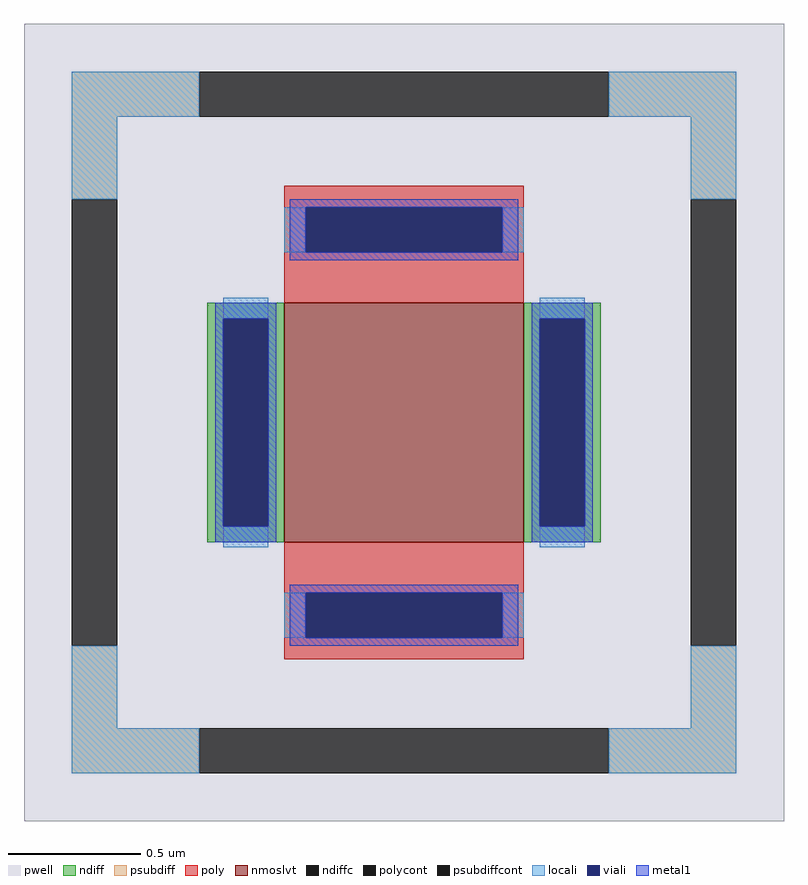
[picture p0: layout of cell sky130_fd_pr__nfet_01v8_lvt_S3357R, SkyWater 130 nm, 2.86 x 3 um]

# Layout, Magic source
magic
tech sky130A
<< pwell >>
rect -143 -150 143 150
<< nmoslvt >>
rect -45 -45 45 45
<< ndiff >>
rect -74 39 -45 45
rect -74 -39 -68 39
rect -51 -39 -45 39
rect -74 -45 -45 -39
rect 45 39 74 45
rect 45 -39 51 39
rect 68 -39 74 39
rect 45 -45 74 -39
<< ndiffc >>
rect -68 -39 -51 39
rect 51 -39 68 39
<< psubdiff >>
rect -125 115 -77 132
rect 77 115 125 132
rect -125 84 -108 115
rect 108 84 125 115
rect -125 -115 -108 -84
rect 108 -115 125 -84
rect -125 -132 -77 -115
rect 77 -132 125 -115
<< psubdiffcont >>
rect -77 115 77 132
rect -125 -84 -108 84
rect 108 -84 125 84
rect -77 -132 77 -115
<< poly >>
rect -45 81 45 89
rect -45 64 -37 81
rect 37 64 45 81
rect -45 45 45 64
rect -45 -64 45 -45
rect -45 -81 -37 -64
rect 37 -81 45 -64
rect -45 -89 45 -81
<< polycont >>
rect -37 64 37 81
rect -37 -81 37 -64
<< locali >>
rect -125 115 -77 132
rect 77 115 125 132
rect -125 84 -108 115
rect 108 84 125 115
rect -45 64 -37 81
rect 37 64 45 81
rect -68 39 -51 47
rect -68 -47 -51 -39
rect 51 39 68 47
rect 51 -47 68 -39
rect -45 -81 -37 -64
rect 37 -81 45 -64
rect -125 -115 -108 -84
rect 108 -115 125 -84
rect -125 -132 -77 -115
rect 77 -132 125 -115
<< viali >>
rect -37 64 37 81
rect -68 -39 -51 39
rect 51 -39 68 39
rect -37 -81 37 -64
<< metal1 >>
rect -43 81 43 84
rect -43 64 -37 81
rect 37 64 43 81
rect -43 61 43 64
rect -71 39 -48 45
rect -71 -39 -68 39
rect -51 -39 -48 39
rect -71 -45 -48 -39
rect 48 39 71 45
rect 48 -39 51 39
rect 68 -39 71 39
rect 48 -45 71 -39
rect -43 -64 43 -61
rect -43 -81 -37 -64
rect 37 -81 43 -64
rect -43 -84 43 -81
<< properties >>
string FIXED_BBOX -116 -123 116 123
string gencell sky130_fd_pr__nfet_01v8_lvt
string library sky130
string parameters w 0.9 l 0.9 m 1 nf 1 diffcov 100 polycov 100 guard 1 glc 1 grc 1 gtc 1 gbc 1 tbcov 100 rlcov 100 topc 1 botc 1 poverlap 0 doverlap 1 lmin 0.15 wmin 0.42 compatible {sky130_fd_pr__nfet_01v8 sky130_fd_pr__nfet_01v8_lvt  sky130_fd_bs_flash__special_sonosfet_star  sky130_fd_pr__nfet_g5v0d10v5 sky130_fd_pr__nfet_05v0_nvt  sky130_fd_pr__nfet_03v3_nvt} full_metal 1 viasrc 100 viadrn 100 viagate 100 viagb 0 viagr 0 viagl 0 viagt 0
<< end >>
